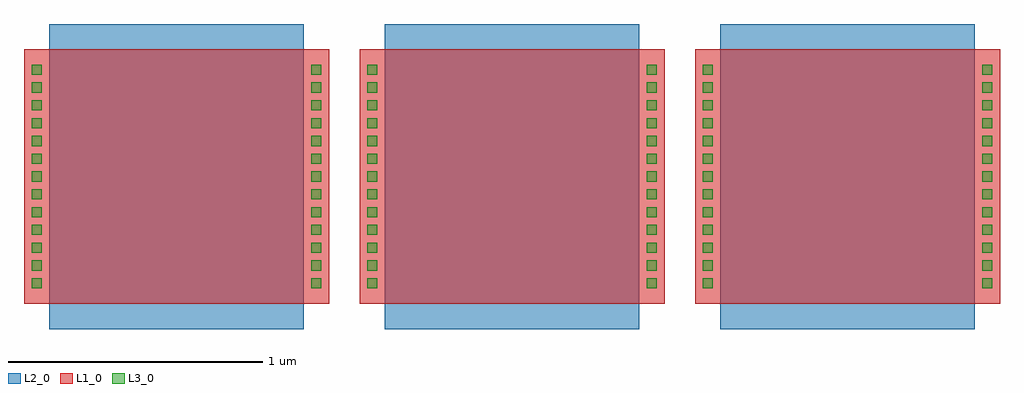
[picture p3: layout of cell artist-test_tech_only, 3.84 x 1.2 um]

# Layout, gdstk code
import gdstk
lib = gdstk.Library(unit=1e-6, precision=5e-09)
def R(c, l, rs):  # rectangles x0, y0, x1, y1
    for r in rs: c.add(gdstk.rectangle(r[:2], r[2:], *l))
def A(c, l, x, y, w, h, nx, ny, dx, dy):  # array of equal rectangles
    R(c, l, [(x+i*dx, y+j*dy, x+i*dx+w, y+j*dy+h) for i in range(nx) for j in range(ny)])
L1_0 = (1, 0)
L2_0 = (2, 0)
L3_0 = (3, 0)

artist_test_tech_only = lib.new_cell('artist-test_tech_only')
A(artist_test_tech_only, L1_0, 0.06, -1, 1.2, 1, 3, 1, 1.32, 0)
A(artist_test_tech_only, L2_0, 0.16, -1.1, 1, 1.2, 3, 1, 1.32, 0)
A(artist_test_tech_only, L3_0, 0.09, -0.94, 0.04, 0.04, 1, 13, 0, 0.07)
A(artist_test_tech_only, L3_0, 1.19, -0.94, 0.04, 0.04, 1, 13, 0, 0.07)
A(artist_test_tech_only, L3_0, 1.41, -0.94, 0.04, 0.04, 1, 13, 0, 0.07)
A(artist_test_tech_only, L3_0, 2.51, -0.94, 0.04, 0.04, 1, 13, 0, 0.07)
A(artist_test_tech_only, L3_0, 2.73, -0.94, 0.04, 0.04, 1, 13, 0, 0.07)
A(artist_test_tech_only, L3_0, 3.83, -0.94, 0.04, 0.04, 1, 13, 0, 0.07)

lib.write_gds('artist-test_tech_only.gds')
